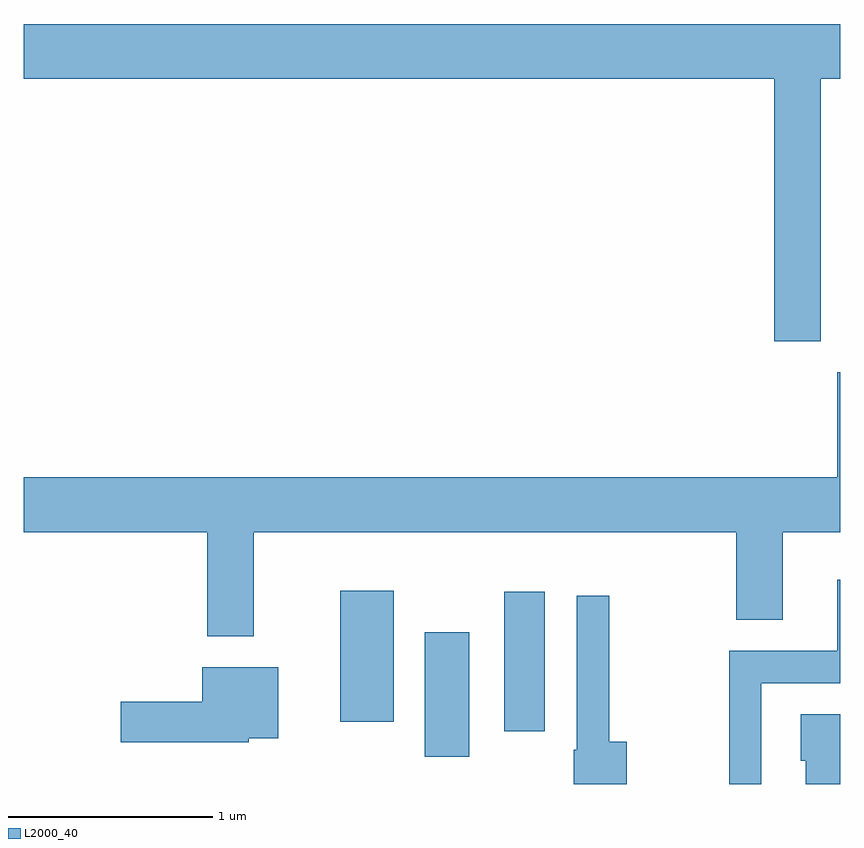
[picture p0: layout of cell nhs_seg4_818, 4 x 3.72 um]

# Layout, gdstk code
import gdstk
lib = gdstk.Library(unit=1e-6, precision=1e-09)
def R(c, l, rs):  # rectangles x0, y0, x1, y1
    for r in rs: c.add(gdstk.rectangle(r[:2], r[2:], *l))
def P(c, l, *ps):  # polygons
    for p in ps: c.add(gdstk.Polygon(p, *l))
L2000_40 = (2000, 40)

nhs_seg4_818 = lib.new_cell('nhs_seg4_818')
R(nhs_seg4_818, L2000_40, [(211.576,1258.116,211.794,1258.724), (211.966,1258.241,212.164,1258.924), (211.161,1258.286,211.424,1258.929)])
P(nhs_seg4_818, L2000_40, [(213.514,1261.436),(213.611,1261.436),(213.611,1261.704),(209.611,1261.704),(209.611,1261.436),(213.286,1261.436),(213.286,1260.151),(213.514,1260.151)],
  [(210.739,1259.216),(213.101,1259.216),(213.101,1258.786),(213.329,1258.786),(213.329,1259.216),(213.611,1259.216),(213.611,1259.999),(213.596,1259.999),(213.596,1259.484),(209.611,1259.484),(209.611,1259.216),(210.511,1259.216),(210.511,1258.706),(210.739,1258.706)],
  [(213.224,1258.476),(213.611,1258.476),(213.611,1258.983),(213.596,1258.983),(213.596,1258.634),(213.066,1258.634),(213.066,1257.982),(213.224,1257.982)],
  [(212.564,1258.189),(212.479,1258.189),(212.479,1258.903),(212.321,1258.903),(212.321,1258.15),(212.306,1258.15),(212.306,1257.982),(212.564,1257.982)],
  [(210.714,1258.206),(210.859,1258.206),(210.859,1258.554),(210.486,1258.554),(210.486,1258.384),(210.086,1258.384),(210.086,1258.186),(210.714,1258.186)],
  [(213.611,1258.324),(213.416,1258.324),(213.416,1258.096),(213.441,1258.096),(213.441,1257.982),(213.611,1257.982)])

lib.write_gds('nhs_seg4_818.gds')
